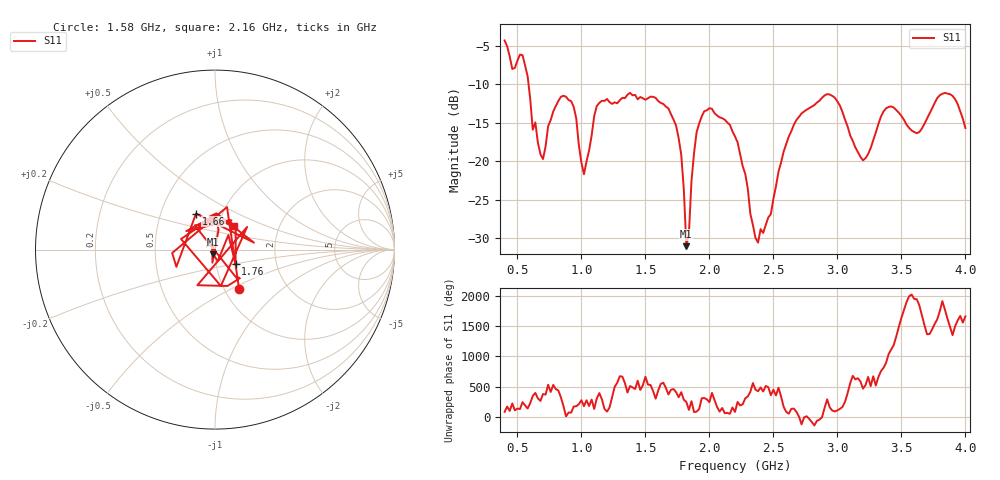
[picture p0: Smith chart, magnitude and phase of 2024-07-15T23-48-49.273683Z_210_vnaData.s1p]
!Created with skrf (http://scikit-rf.org).
# Hz S RI R 50.0
!freq ReS11 ImS11
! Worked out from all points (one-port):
!   181 points, 400 MHz to 4 GHz, reference 50 ohm
!   lowest |S11| = -31.0 dB at 1.82 GHz (marker M1), VSWR 1.06, Z = 48.8 - j2.49 ohm
!   |S11| at or under -10 dB: 587.1 MHz to end of sweep
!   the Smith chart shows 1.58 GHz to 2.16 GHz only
!   S11 on the Smith chart (normalised r, x): 1.58 GHz: 1.17, -0.55; 1.66 GHz: 0.75, +0.32; 1.76 GHz: 1.24, -0.21; 2.16 GHz: 1.19, +0.33
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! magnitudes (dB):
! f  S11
! 400 MHz  -4.3
! 460 MHz  -8.0
! 540 MHz  -6.2
! 620 MHz  -15.9
! 700 MHz  -19.7
! 860 MHz  -11.5
! 940 MHz  -12.9
! 1.02 GHz  -21.7
! 1.12 GHz  -12.8
! 1.3 GHz  -12.1
! 1.58 GHz  -11.8
! 1.66 GHz  -12.9
! 1.76 GHz  -17.0
! 1.8 GHz  -23.6
! 1.82 GHz  -31.0
! 1.88 GHz  -18.9
! 1.92 GHz  -15.1
! 2.16 GHz  -15.3
! 2.2 GHz  -16.8
! 2.38 GHz  -30.5
! 2.66 GHz  -15.2
! 2.94 GHz  -11.3
! 3.1 GHz  -16.6
! 3.2 GHz  -19.9
! 3.38 GHz  -13.1
! 3.56 GHz  -15.7
! 3.84 GHz  -11.1
! 4 GHz  -15.7
